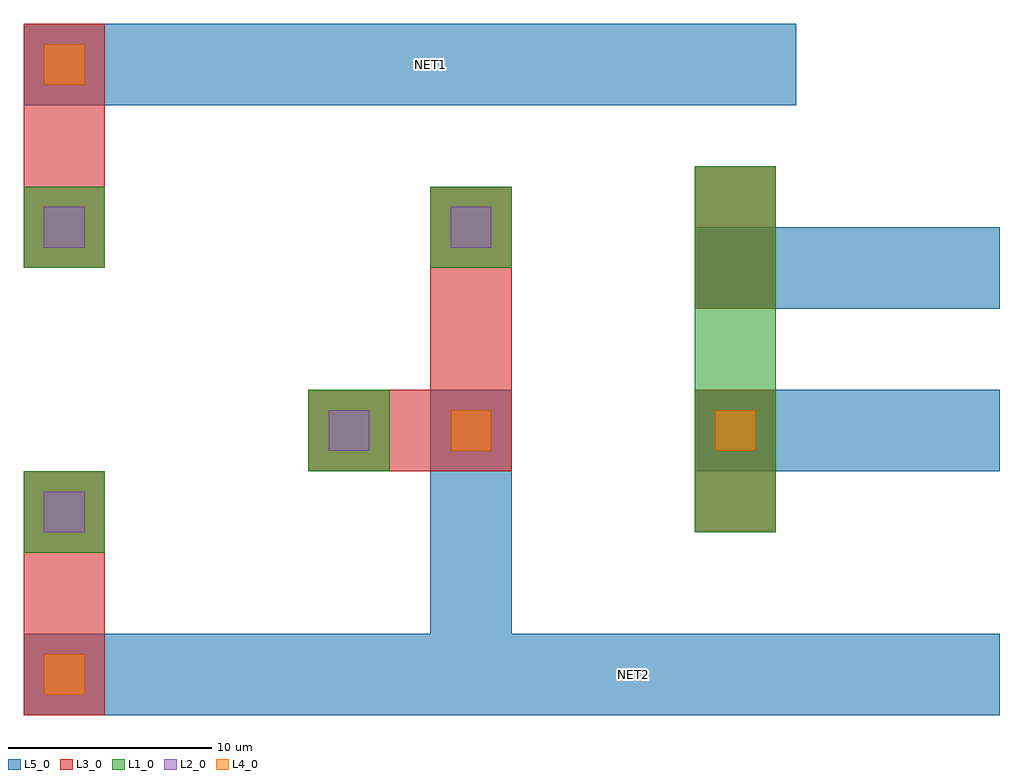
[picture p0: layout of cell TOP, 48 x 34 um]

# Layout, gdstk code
import gdstk
lib = gdstk.Library(unit=1e-6, precision=1e-09)
def R(c, l, rs):  # rectangles x0, y0, x1, y1
    for r in rs: c.add(gdstk.rectangle(r[:2], r[2:], *l))
L1_0 = (1, 0)
L2_0 = (2, 0)
L3_0 = (3, 0)
L4_0 = (4, 0)
L5_0 = (5, 0)

c_a = lib.new_cell('A')
R(c_a, L1_0, [(0,8,4,12)])
R(c_a, L2_0, [(1,9,3,11)])
R(c_a, L3_0, [(0,0,4,12)])
R(c_a, L4_0, [(1,1,3,3)])
R(c_a, L5_0, [(0,0,38,4)])
c_a.add(gdstk.Label('NET2', (16,2), layer=5, texttype=0))

top = lib.new_cell('TOP')
R(top, L1_0, [(25,-5,29,13), (6,-2,10,2), (12,8,16,12)])
R(top, L2_0, [(7,-1,9,1), (13,9,15,11)])
R(top, L3_0, [(25,-5,29,2), (6,-2,16,2), (12,-2,16,12), (25,6,29,13)])
R(top, L4_0, [(13,-1,15,1), (26,-1,28,1)])
R(top, L5_0, [(12,-14,16,2), (30,-14,40,-10), (25,-2,40,2), (25,6,40,10)])
top.add(gdstk.Reference(c_a, (-8,20), x_reflection=True))
r = gdstk.Reference(c_a, (-8,-14)); r.repetition = gdstk.Repetition(1, 1, v1=(0,0), v2=(0,0)); top.add(r)
top.add(gdstk.Label('NET1', (12,18), layer=5, texttype=0))
top.add(gdstk.Label('NET2', (22,-12), layer=5, texttype=0))

lib.write_gds('TOP.gds')
